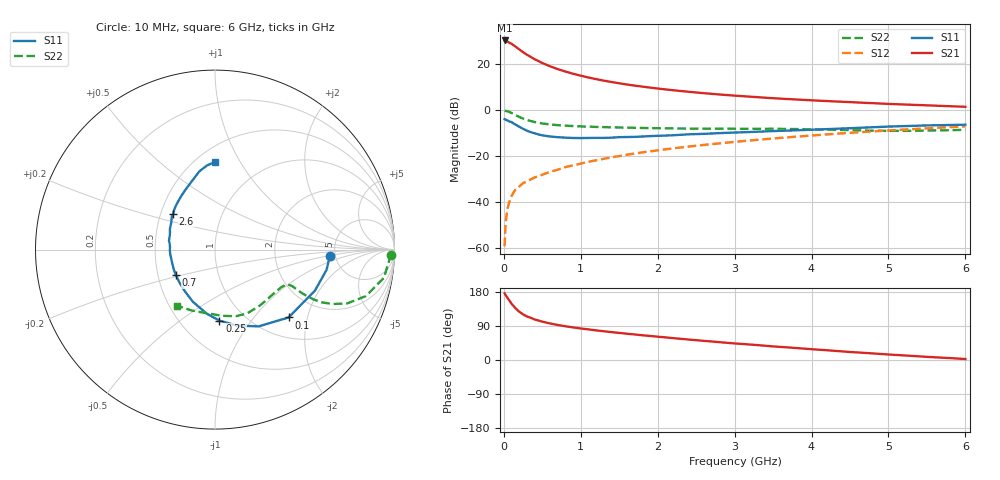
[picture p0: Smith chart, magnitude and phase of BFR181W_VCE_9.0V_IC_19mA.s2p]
! (c) 2017  Infineon Technologies AG, Munich
! Infineon Technologies  Discrete & RF Semiconductors
! BFR181W
! VCE =  9.0 V,  IC =  19 mA
! Common Emitter S-Parameters:  Jan 2017
# GHz  S  MA  R  50
!  f  S11  S21  S12  S22
! GHz  MAG  ANG  MAG  ANG  MAG  ANG  MAG  ANG
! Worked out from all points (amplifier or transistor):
!   77 points, 10 MHz to 6 GHz, reference 50 ohm
!   highest |S21| = 30.5 dB at 10 MHz (marker M1)
!   |S21| within 3 dB of that: start of sweep to 164.8 MHz
!   unconditionally stable (mu >= 1): 818.6 MHz to 2.704 GHz
!   at 130 MHz: K = 0.38, MSG = 31.9 dB, |S12| = -35.6 dB
!   at 2.2 GHz: K = 1.04, MAG = 11.5 dB, |S12| = -16.6 dB
!   at 6 GHz: K = 0.84, MSG = 4.3 dB, |S12| = -7.0 dB
!   S11 on the Smith chart (normalised r, x): 10 MHz: 4.50, -0.55; 100 MHz: 1.40, -1.54; 250 MHz: 0.76, -0.71; 700 MHz: 0.62, -0.19; 2.6 GHz: 0.58, +0.26; 6 GHz: 0.61, +0.79
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0.01  0.6408 -3.2  33.34 176.0  0.0011 80.9  0.9831 -1.6
0.02  0.6317 -10.3  32.91 172.3  0.0029 94.3  0.9734 -3.4
0.05  0.6018 -22.3  31.48 163.1  0.0075 80.3  0.9543 -9.5
0.1  0.5576 -42.7  28.21 148.3  0.0135 74.3  0.8785 -17.2
0.15  0.4921 -60.4  24.66 136.7  0.0187 68.6  0.7946 -22.2
0.2  0.44 -74.1  21.29 127.5  0.0219 66.2  0.7201 -24.9
0.25  0.3962 -86.4  18.56 120.4  0.026 64.3  0.6628 -26.3
0.3  0.3611 -97.0  16.29 115.0  0.0282 63.2  0.6166 -26.8
0.4  0.3158 -113.0  13.02 106.9  0.0345 64.8  0.5563 -26.7
0.5  0.286 -126.2  10.74 101.1  0.0396 65.9  0.5184 -26.2
0.6  0.2696 -137.3  9.136 96.4  0.0458 67.9  0.4938 -25.7
0.7  0.2605 -146.7  7.925 92.5  0.0509 69.2  0.4763 -25.3
0.9  0.2504 -161.8  6.271 86.0  0.0633 70.4  0.4551 -25.6
1.1  0.2506 -173.1  5.202 80.8  0.0758 71.2  0.4417 -26.5
1.3  0.2512 176.7  4.44 75.8  0.088 71.6  0.4318 -28.1
1.5  0.261 169.3  3.888 71.5  0.1011 71.6  0.4233 -30.0
2.1  0.2825 150.7  2.865 59.7  0.1415 70.0  0.4062 -38.6
2.6  0.3078 139.4  2.368 50.5  0.1765 67.8  0.4001 -47.5
3.1  0.333 129.3  2.04 42.3  0.2134 64.9  0.3972 -56.4
4.1  0.3844 112.8  1.625 27.1  0.2913 57.9  0.3844 -74.6
5.1  0.4485 100.3  1.363 13.3  0.373 49.3  0.3573 -99.7
6  0.4874 90.2  1.196 2.6  0.448 40.6  0.378 -124.5
